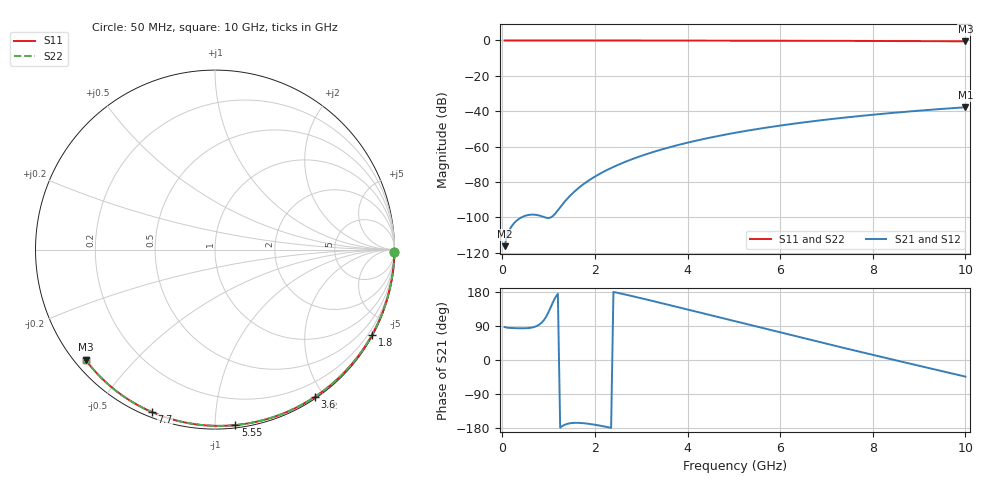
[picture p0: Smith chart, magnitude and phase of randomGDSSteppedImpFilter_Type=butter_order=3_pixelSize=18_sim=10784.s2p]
! freq	dB(S11)	phase(S11)	dB(S12)	phase(S12)
!  dB(S21)	phase(S21)	dB(S22)	phase(S22)
!S-par simulation data
#  GHz  S  DB  R 50
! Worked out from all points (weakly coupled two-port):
!   200 points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, 50 MHz to 10 GHz, reference 50 ohm
!   highest |S21| = -37.76 dB at 10 GHz (marker M1); lowest = -116.3 dB at 50 MHz (marker M2)
!   lowest |S11| = -0.5 dB at 10 GHz (marker M3), VSWR 36.70, Z = 1.55 - j18.4 ohm
!   |S11| at or under -10 dB: nowhere
!   |S22| runs from -0.5 to 0.0 dB; largest |S21 - S12| = 0
!   S11 on the Smith chart (normalised r, x): 50 MHz: open; 1.8 GHz: 0.03, -3.92; 3.6 GHz: 0.02, -1.89; 5.55 GHz: 0.02, -1.12; 7.7 GHz: 0.02, -0.68; 10 GHz: 0.03, -0.37
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0.05  -0.00 -0.8  -116.31 87.0  -116.31 87.0  -0.00 -0.8
0.45  -0.01 -7.3  -99.57 83.6  -99.57 83.6  -0.01 -7.3
0.9  -0.02 -14.4  -99.87 105.5  -99.87 105.5  -0.02 -14.4
1.75  -0.04 -27.8  -81.32 -166.8  -81.32 -166.8  -0.04 -27.8
1.8  -0.04 -28.6  -80.37 -167.4  -80.37 -167.4  -0.04 -28.6
1.85  -0.04 -29.4  -79.47 -168.1  -79.47 -168.1  -0.04 -29.4
2.05  -0.04 -32.5  -76.21 -171.9  -76.21 -171.9  -0.04 -32.5
2.2  -0.04 -34.8  -74.07 -175.3  -74.07 -175.3  -0.04 -34.8
2.55  -0.05 -40.2  -69.76 175.7  -69.76 175.7  -0.05 -40.2
2.95  -0.06 -46.2  -65.73 164.4  -65.73 164.4  -0.06 -46.2
3.4  -0.07 -52.9  -61.95 151.2  -61.95 151.2  -0.07 -52.9
3.6  -0.08 -55.9  -60.46 145.3  -60.46 145.3  -0.08 -55.9
3.9  -0.08 -60.3  -58.42 136.2  -58.42 136.2  -0.08 -60.3
4.3  -0.09 -66.0  -55.98 124.1  -55.98 124.1  -0.09 -66.0
5.05  -0.12 -76.5  -52.10 101.4  -52.10 101.4  -0.12 -76.5
5.55  -0.14 -83.4  -49.90 86.3  -49.90 86.3  -0.14 -83.4
6.1  -0.16 -90.7  -47.76 69.7  -47.76 69.7  -0.16 -90.7
6.7  -0.19 -98.6  -45.70 51.8  -45.70 51.8  -0.19 -98.6
7.7  -0.26 -111.3  -42.77 22.3  -42.77 22.3  -0.26 -111.3
8.35  -0.31 -119.4  -41.15 3.4  -41.15 3.4  -0.31 -119.4
9.2  -0.39 -129.8  -39.28 -21.0  -39.28 -21.0  -0.39 -129.8
10  -0.47 -139.6  -37.76 -43.8  -37.76 -43.8  -0.47 -139.6
